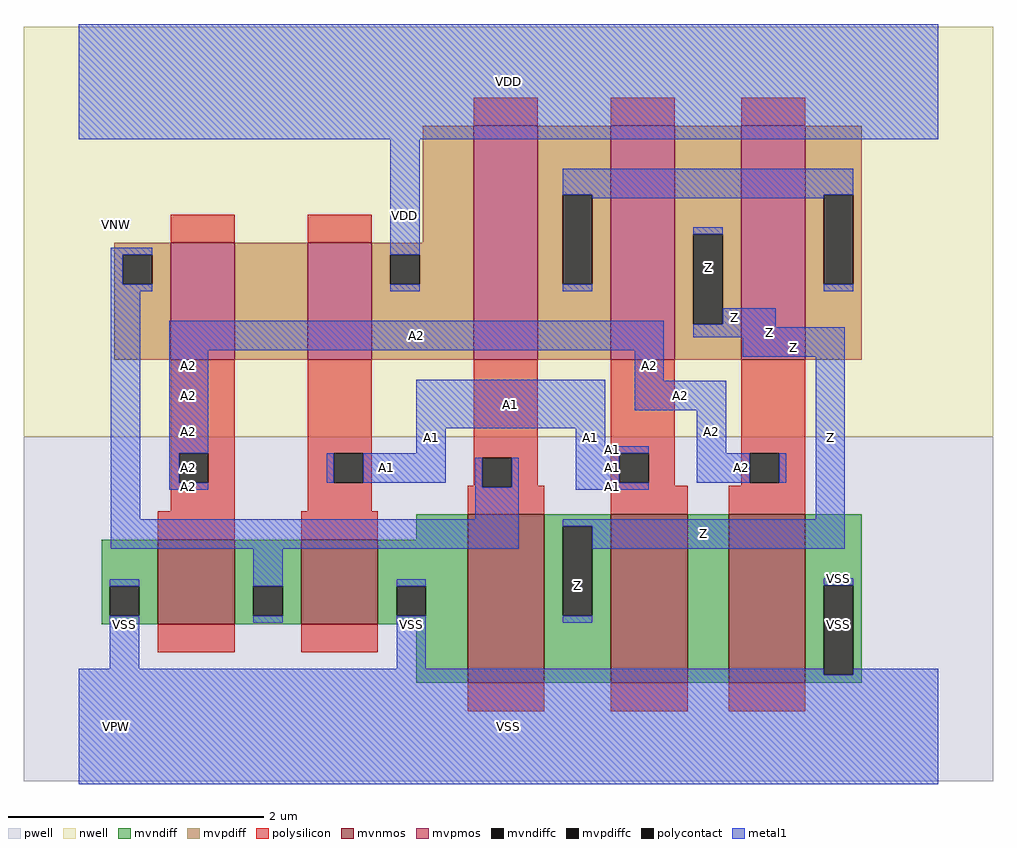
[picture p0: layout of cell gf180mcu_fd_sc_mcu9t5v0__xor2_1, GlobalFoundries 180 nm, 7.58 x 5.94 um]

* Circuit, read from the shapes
.subckt gf180mcu_fd_sc_mcu9t5v0__xor2_1 A1 A2 Z VDD VNW VPW VSS
XM1 n1 A2 VSS VPW nfet_06v0 w=0.66u l=0.6u
XM2 VSS A1 n1 VPW nfet_06v0 w=0.66u l=0.6u
XM3 Z n1 VSS VPW nfet_06v0 w=1.32u l=0.6u
XM4 n2 A1 Z VPW nfet_06v0 w=1.32u l=0.6u
XM5 VSS A2 n2 VPW nfet_06v0 w=1.32u l=0.6u
XM6 n3 A2 n1 VNW pfet_06v0 w=0.915u l=0.5u
XM7 VDD A1 n3 VNW pfet_06v0 w=0.915u l=0.5u
XM8 n4 n1 VDD VNW pfet_06v0 w=1.83u l=0.5u
XM9 Z A1 n4 VNW pfet_06v0 w=1.83u l=0.5u
XM10 n4 A2 Z VNW pfet_06v0 w=1.83u l=0.5u
.ends

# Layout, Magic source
magic
tech gf180mcuD
magscale 1 10
<< nwell >>
rect -86 453 1430 1094
<< pwell >>
rect -86 -86 1430 453
<< mvnmos >>
rect 124 160 244 292
rect 348 160 468 292
rect 608 68 728 332
rect 832 68 952 332
rect 1016 68 1136 332
<< mvpmos >>
rect 144 573 244 756
rect 358 573 458 756
rect 618 573 718 939
rect 832 573 932 939
rect 1036 573 1136 939
<< mvndiff >>
rect 528 292 608 332
rect 36 219 124 292
rect 36 173 49 219
rect 95 173 124 219
rect 36 160 124 173
rect 244 219 348 292
rect 244 173 273 219
rect 319 173 348 219
rect 244 160 348 173
rect 468 219 608 292
rect 468 173 497 219
rect 543 173 608 219
rect 468 160 608 173
rect 528 68 608 160
rect 728 313 832 332
rect 728 173 757 313
rect 803 173 832 313
rect 728 68 832 173
rect 952 68 1016 332
rect 1136 221 1224 332
rect 1136 81 1165 221
rect 1211 81 1224 221
rect 1136 68 1224 81
<< mvpdiff >>
rect 538 756 618 939
rect 56 737 144 756
rect 56 691 69 737
rect 115 691 144 737
rect 56 573 144 691
rect 244 573 358 756
rect 458 737 618 756
rect 458 691 487 737
rect 533 691 618 737
rect 458 573 618 691
rect 718 831 832 939
rect 718 691 757 831
rect 803 691 832 831
rect 718 573 832 691
rect 932 769 1036 939
rect 932 629 961 769
rect 1007 629 1036 769
rect 932 573 1036 629
rect 1136 831 1224 939
rect 1136 691 1165 831
rect 1211 691 1224 831
rect 1136 573 1224 691
<< mvndiffc >>
rect 49 173 95 219
rect 273 173 319 219
rect 497 173 543 219
rect 757 173 803 313
rect 1165 81 1211 221
<< mvpdiffc >>
rect 69 691 115 737
rect 487 691 533 737
rect 757 691 803 831
rect 961 629 1007 769
rect 1165 691 1211 831
<< polysilicon >>
rect 618 939 718 983
rect 832 939 932 983
rect 1036 939 1136 983
rect 144 756 244 800
rect 358 756 458 800
rect 144 427 244 573
rect 144 381 157 427
rect 203 381 244 427
rect 144 336 244 381
rect 358 427 458 573
rect 358 381 399 427
rect 445 381 458 427
rect 358 336 458 381
rect 618 420 718 573
rect 618 376 631 420
rect 608 374 631 376
rect 677 376 718 420
rect 832 427 932 573
rect 832 381 845 427
rect 891 381 932 427
rect 832 376 932 381
rect 1036 427 1136 573
rect 1036 381 1049 427
rect 1095 381 1136 427
rect 1036 376 1136 381
rect 677 374 728 376
rect 124 292 244 336
rect 348 292 468 336
rect 608 332 728 374
rect 832 332 952 376
rect 1016 332 1136 376
rect 124 116 244 160
rect 348 116 468 160
rect 608 24 728 68
rect 832 24 952 68
rect 1016 24 1136 68
<< polycontact >>
rect 157 381 203 427
rect 399 381 445 427
rect 631 374 677 420
rect 845 381 891 427
rect 1049 381 1095 427
<< metal1 >>
rect 0 918 1344 1098
rect 50 737 115 748
rect 50 691 69 737
rect 50 680 115 691
rect 487 737 533 918
rect 487 680 533 691
rect 757 831 1211 872
rect 803 826 1165 831
rect 757 680 803 691
rect 961 769 1007 780
rect 50 324 96 680
rect 142 588 915 634
rect 1165 680 1211 691
rect 1007 629 1090 654
rect 961 624 1090 629
rect 961 608 1198 624
rect 142 427 203 588
rect 528 466 823 542
rect 869 540 915 588
rect 1038 578 1198 608
rect 869 494 1012 540
rect 528 427 574 466
rect 142 381 157 427
rect 388 381 399 427
rect 445 381 574 427
rect 777 438 823 466
rect 777 427 891 438
rect 142 370 203 381
rect 620 374 631 420
rect 677 374 688 420
rect 620 324 688 374
rect 777 381 845 427
rect 966 427 1012 494
rect 966 381 1049 427
rect 1095 381 1106 427
rect 777 370 891 381
rect 1152 324 1198 578
rect 50 278 688 324
rect 757 313 1198 324
rect 49 219 95 230
rect 49 90 95 173
rect 273 219 319 278
rect 273 162 319 173
rect 497 219 543 230
rect 497 90 543 173
rect 803 278 1198 313
rect 757 162 803 173
rect 1165 221 1211 232
rect 0 81 1165 90
rect 1211 81 1344 90
rect 0 -90 1344 81
<< labels >>
flabel metal1 s 528 466 823 542 0 FreeSans 200 0 0 0 A1
port 1 nsew default input
flabel metal1 s 142 588 915 634 0 FreeSans 200 0 0 0 A2
port 2 nsew default input
flabel metal1 s 0 918 1344 1098 0 FreeSans 200 0 0 0 VDD
port 4 nsew power bidirectional abutment
flabel metal1 s 1165 230 1211 232 0 FreeSans 200 0 0 0 VSS
port 7 nsew ground bidirectional abutment
flabel metal1 s 961 654 1007 780 0 FreeSans 200 0 0 0 Z
port 3 nsew default output
flabel nwell s 10 734 110 834 0 FreeSans 400 0 0 0 VNW
port 5 nsew power bidirectional
flabel pwell s 10 -50 110 50 0 FreeSans 400 0 0 0 VPW
port 6 nsew ground bidirectional
rlabel metal1 s 777 438 823 466 1 A1
port 1 nsew default input
rlabel metal1 s 528 438 574 466 1 A1
port 1 nsew default input
rlabel metal1 s 777 427 891 438 1 A1
port 1 nsew default input
rlabel metal1 s 528 427 574 438 1 A1
port 1 nsew default input
rlabel metal1 s 777 381 891 427 1 A1
port 1 nsew default input
rlabel metal1 s 388 381 574 427 1 A1
port 1 nsew default input
rlabel metal1 s 777 370 891 381 1 A1
port 1 nsew default input
rlabel metal1 s 869 540 915 588 1 A2
port 2 nsew default input
rlabel metal1 s 142 540 203 588 1 A2
port 2 nsew default input
rlabel metal1 s 869 494 1012 540 1 A2
port 2 nsew default input
rlabel metal1 s 142 494 203 540 1 A2
port 2 nsew default input
rlabel metal1 s 966 427 1012 494 1 A2
port 2 nsew default input
rlabel metal1 s 142 427 203 494 1 A2
port 2 nsew default input
rlabel metal1 s 966 381 1106 427 1 A2
port 2 nsew default input
rlabel metal1 s 142 381 203 427 1 A2
port 2 nsew default input
rlabel metal1 s 142 370 203 381 1 A2
port 2 nsew default input
rlabel metal1 s 961 624 1090 654 1 Z
port 3 nsew default output
rlabel metal1 s 961 608 1198 624 1 Z
port 3 nsew default output
rlabel metal1 s 1038 578 1198 608 1 Z
port 3 nsew default output
rlabel metal1 s 1152 324 1198 578 1 Z
port 3 nsew default output
rlabel metal1 s 757 278 1198 324 1 Z
port 3 nsew default output
rlabel metal1 s 757 162 803 278 1 Z
port 3 nsew default output
rlabel metal1 s 487 680 533 918 1 VDD
port 4 nsew power bidirectional abutment
rlabel metal1 s 1165 90 1211 230 1 VSS
port 7 nsew ground bidirectional abutment
rlabel metal1 s 497 90 543 230 1 VSS
port 7 nsew ground bidirectional abutment
rlabel metal1 s 49 90 95 230 1 VSS
port 7 nsew ground bidirectional abutment
rlabel metal1 s 0 -90 1344 90 1 VSS
port 7 nsew ground bidirectional abutment
<< properties >>
string FIXED_BBOX 0 0 1344 1008
string GDS_END 487526
string GDS_FILE $PDKPATH/libs.ref/gf180mcu_fd_sc_mcu9t5v0/gds/gf180mcu_fd_sc_mcu9t5v0.gds
string GDS_START 483490
string LEFclass core
string LEFsite GF018hv5v_green_sc9
string LEFsymmetry X Y
<< end >>
